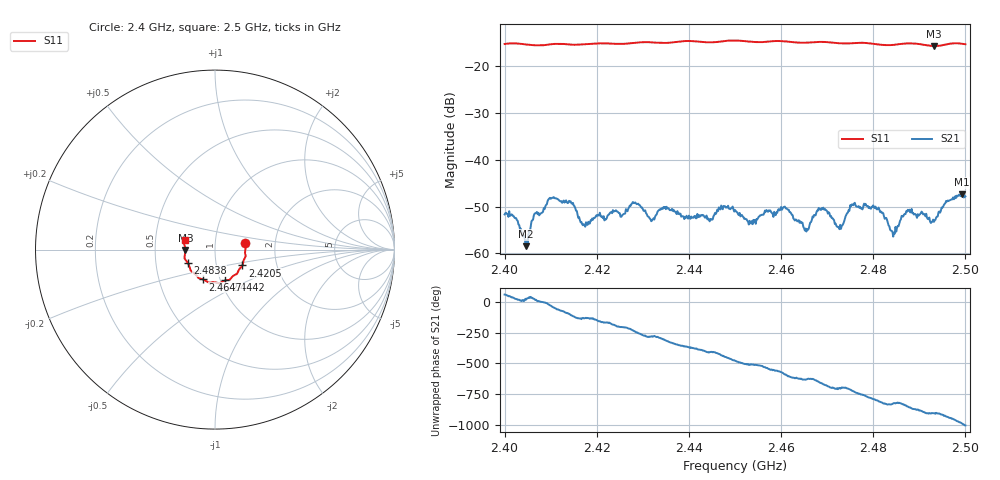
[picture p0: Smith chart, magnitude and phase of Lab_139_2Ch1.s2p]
# Hz S RI R 50
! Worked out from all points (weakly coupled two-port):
!   601 points, 2.4 GHz to 2.5 GHz, reference 50 ohm
!   highest |S21| = -47.39 dB at 2.4992 GHz (marker M1); lowest = -58.5 dB at 2.4047 GHz (marker M2)
!   lowest |S11| = -15.6 dB at 2.4932 GHz (marker M3), VSWR 1.40, Z = 35.8 - j0.168 ohm
!   |S11| at or under -10 dB: start of sweep to end of sweep
!   S12 and S22 are empty: the file has one direction only
!   S11 on the Smith chart (normalised r, x): 2.4 GHz: 1.40, +0.11; 2.4205 GHz: 1.34, -0.24; 2.4442 GHz: 1.05, -0.37; 2.4647 GHz: 0.83, -0.29; 2.4838 GHz: 0.73, -0.11; 2.5 GHz: 0.71, +0.08
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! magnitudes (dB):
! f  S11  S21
! 2.4 GHz  -15.2  -51.7
! 2.4047 GHz  -15.3  -58.5
! 2.4102 GHz  -15.2  -48.2
! 2.4167 GHz  -15.3  -53.3
! 2.4205 GHz  -15.1  -51.9
! 2.4333 GHz  -15.0  -50.9
! 2.4442 GHz  -14.8  -52.5
! 2.45 GHz  -14.4  -50.7
! 2.4533 GHz  -14.7  -53.3
! 2.4608 GHz  -14.6  -50.0
! 2.4647 GHz  -14.9  -53.5
! 2.4667 GHz  -14.8  -52.9
! 2.4693 GHz  -14.8  -50.6
! 2.4727 GHz  -15.0  -54.8
! 2.4755 GHz  -15.0  -49.5
! 2.4783 GHz  -15.0  -49.4
! 2.4833 GHz  -15.4  -54.0
! 2.4838 GHz  -15.4  -55.1
! 2.4878 GHz  -15.1  -50.6
! 2.4932 GHz  -15.6  -53.2
! 2.4992 GHz  -15.1  -47.4
! 2.5 GHz  -15.3  -47.8
